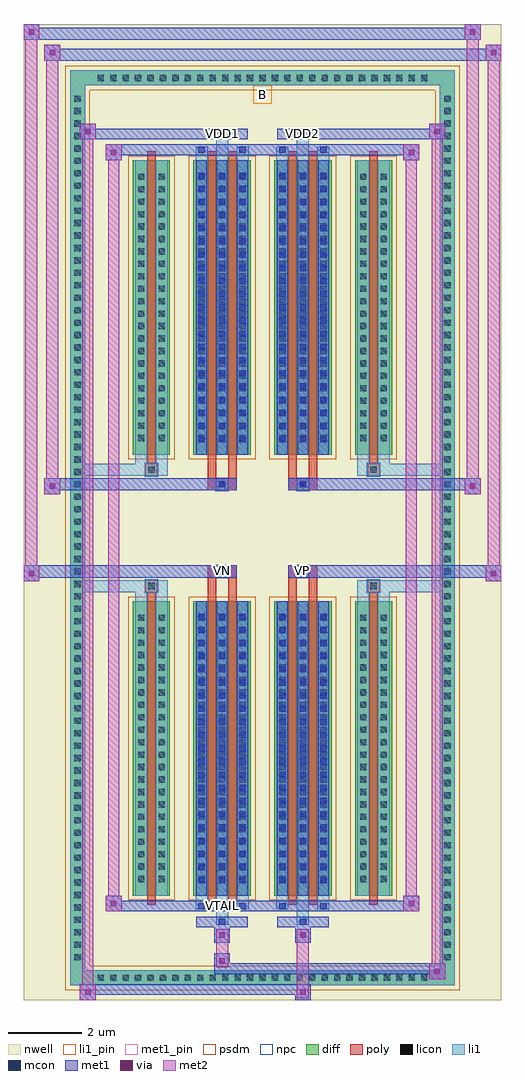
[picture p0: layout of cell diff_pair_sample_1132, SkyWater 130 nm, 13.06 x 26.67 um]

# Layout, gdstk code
import gdstk
lib = gdstk.Library(unit=1e-6, precision=5e-09)
def R(c, l, rs):  # rectangles x0, y0, x1, y1
    for r in rs: c.add(gdstk.rectangle(r[:2], r[2:], *l))
def A(c, l, x, y, w, h, nx, ny, dx, dy):  # array of equal rectangles
    R(c, l, [(x+i*dx, y+j*dy, x+i*dx+w, y+j*dy+h) for i in range(nx) for j in range(ny)])
def P(c, l, *ps):  # polygons
    for p in ps: c.add(gdstk.Polygon(p, *l))
nwell = (64, 20)
diff = (65, 20)
poly = (66, 20)
licon = (66, 44)
li1_pin = (67, 16)
li1 = (67, 20)
mcon = (67, 44)
met1_pin = (68, 16)
met1 = (68, 20)
via = (68, 44)
met2 = (69, 20)
psdm = (94, 20)
npc = (95, 20)

diff_pair_sample_1132 = lib.new_cell('diff_pair_sample_1132')
R(diff_pair_sample_1132, nwell, [(-6.53,-12.9,6.53,13.77), (-3.85,-11.09,-0.01,-0.825), (0.01,-11.09,3.85,-0.825), (-3.85,0.825,-0.01,11.09), (0.01,0.825,3.85,11.09)])
A(diff_pair_sample_1132, diff, -4.625, -12.5, 0.41, 0.41, 27, 2, 0.34, 24.59)
A(diff_pair_sample_1132, diff, -5.26, -11.935, 0.41, 0.41, 1, 70, 0, 0.34)
A(diff_pair_sample_1132, diff, 4.85, -11.935, 0.41, 0.41, 1, 70, 0, 0.34)
R(diff_pair_sample_1132, diff, [(-4.625,-12.5,4.625,-12.09), (-5.26,-11.935,-4.85,11.935), (4.85,-11.935,5.26,11.935), (-3.54,-10.045,-2.53,-2.005), (-1.89,-10.045,-0.32,-2.005), (0.32,-10.045,1.89,-2.005), (2.53,-10.045,3.54,-2.005), (-3.54,2.005,-2.53,10.045), (-1.89,2.005,-0.32,10.045), (0.32,2.005,1.89,10.045), (2.53,2.005,3.54,10.045), (-4.625,12.09,4.625,12.5)])
P(diff_pair_sample_1132, diff, [(5.26,12.5),(-5.26,12.5),(-5.26,-12.09),(-4.85,-12.09),(-4.85,12.09),(4.85,12.09),(4.85,-12.09),(-4.85,-12.09),(-5.26,-12.09),(-5.26,-12.5),(5.26,-12.5)])
R(diff_pair_sample_1132, poly, [(-3.15,-10.295,-2.92,-1.755), (-1.5,-10.295,-1.27,-1.755), (-0.94,-10.295,-0.71,-1.755), (0.71,-10.295,0.94,-1.755), (1.27,-10.295,1.5,-1.755), (2.92,-10.295,3.15,-1.755), (-3.2,-1.755,-2.87,-1.425), (-3.2,-1.755,-2.87,-1.425), (-1.5,-1.755,-1.27,-1.355), (-0.94,-1.755,-0.71,-1.355), (0.71,-1.755,0.94,-1.355), (1.27,-1.755,1.5,-1.355), (2.87,-1.755,3.2,-1.425), (2.87,-1.755,3.2,-1.425), (-1.5,-1.355,-0.71,-1.025), (-1.27,-1.355,-0.94,-1.025), (0.71,-1.355,1.5,-1.025), (0.94,-1.355,1.27,-1.025), (-1.5,1.025,-0.71,1.355), (-1.27,1.025,-0.94,1.355), (0.71,1.025,1.5,1.355), (0.94,1.025,1.27,1.355), (-1.5,1.355,-1.27,1.755), (-0.94,1.355,-0.71,1.755), (0.71,1.355,0.94,1.755), (1.27,1.355,1.5,1.755), (-3.2,1.425,-2.87,1.755), (-3.2,1.425,-2.87,1.755), (2.87,1.425,3.2,1.755), (2.87,1.425,3.2,1.755), (-3.15,1.755,-2.92,10.295), (-1.5,1.755,-1.27,10.295), (-0.94,1.755,-0.71,10.295), (0.71,1.755,0.94,10.295), (1.27,1.755,1.5,10.295), (2.92,1.755,3.15,10.295)])
A(diff_pair_sample_1132, licon, -4.505, -12.38, 0.17, 0.17, 27, 2, 0.34, 24.59)
A(diff_pair_sample_1132, licon, -5.14, -11.815, 0.17, 0.17, 1, 70, 0, 0.34)
A(diff_pair_sample_1132, licon, 4.97, -11.815, 0.17, 0.17, 1, 70, 0, 0.34)
A(diff_pair_sample_1132, licon, -3.4, -9.68, 0.17, 0.17, 1, 22, 0, 0.34)
A(diff_pair_sample_1132, licon, -2.84, -9.68, 0.17, 0.17, 1, 22, 0, 0.34)
A(diff_pair_sample_1132, licon, -1.75, -9.68, 0.17, 0.17, 3, 22, 0.56, 0.34)
A(diff_pair_sample_1132, licon, 0.46, -9.68, 0.17, 0.17, 3, 22, 0.56, 0.34)
A(diff_pair_sample_1132, licon, 2.67, -9.68, 0.17, 0.17, 1, 22, 0, 0.34)
A(diff_pair_sample_1132, licon, 3.23, -9.68, 0.17, 0.17, 1, 22, 0, 0.34)
A(diff_pair_sample_1132, licon, -3.4, 2.37, 0.17, 0.17, 1, 22, 0, 0.34)
A(diff_pair_sample_1132, licon, -2.84, 2.37, 0.17, 0.17, 1, 22, 0, 0.34)
A(diff_pair_sample_1132, licon, -1.75, 2.37, 0.17, 0.17, 3, 22, 0.56, 0.34)
A(diff_pair_sample_1132, licon, 0.46, 2.37, 0.17, 0.17, 3, 22, 0.56, 0.34)
A(diff_pair_sample_1132, licon, 2.67, 2.37, 0.17, 0.17, 1, 22, 0, 0.34)
A(diff_pair_sample_1132, licon, 3.23, 2.37, 0.17, 0.17, 1, 22, 0, 0.34)
R(diff_pair_sample_1132, licon, [(-3.12,-1.675,-2.95,-1.505), (2.95,-1.675,3.12,-1.505), (-1.19,-1.275,-1.02,-1.105), (1.02,-1.275,1.19,-1.105), (-1.19,1.105,-1.02,1.275), (1.02,1.105,1.19,1.275), (-3.12,1.505,-2.95,1.675), (2.95,1.505,3.12,1.675)])
R(diff_pair_sample_1132, li1_pin, [(-0.25,11.59,0.25,12.09)])
A(diff_pair_sample_1132, li1, -4.585, -12.46, 0.33, 0.33, 27, 2, 0.34, 24.59)
A(diff_pair_sample_1132, li1, -5.22, -11.895, 0.33, 0.33, 1, 70, 0, 0.34)
A(diff_pair_sample_1132, li1, 4.89, -11.895, 0.33, 0.33, 1, 70, 0, 0.34)
A(diff_pair_sample_1132, li1, -1.83, -10.045, 0.33, 8.04, 3, 2, 0.56, 12.05)
A(diff_pair_sample_1132, li1, 0.38, -10.045, 0.33, 8.04, 3, 2, 0.56, 12.05)
A(diff_pair_sample_1132, li1, -3.48, -9.76, 0.33, 0.33, 1, 22, 0, 0.34)
A(diff_pair_sample_1132, li1, -2.92, -9.76, 0.33, 0.33, 1, 22, 0, 0.34)
A(diff_pair_sample_1132, li1, -1.83, -9.76, 0.33, 0.33, 3, 22, 0.56, 0.34)
A(diff_pair_sample_1132, li1, 0.38, -9.76, 0.33, 0.33, 3, 22, 0.56, 0.34)
A(diff_pair_sample_1132, li1, 2.59, -9.76, 0.33, 0.33, 1, 22, 0, 0.34)
A(diff_pair_sample_1132, li1, 3.15, -9.76, 0.33, 0.33, 1, 22, 0, 0.34)
A(diff_pair_sample_1132, li1, -1.75, -9.71, 0.17, 0.17, 3, 21, 0.56, 0.36)
A(diff_pair_sample_1132, li1, -1.75, -9.71, 0.17, 7.37, 3, 2, 0.56, 12.05)
A(diff_pair_sample_1132, li1, 0.46, -9.71, 0.17, 0.17, 3, 21, 0.56, 0.36)
A(diff_pair_sample_1132, li1, 0.46, -9.71, 0.17, 7.37, 3, 2, 0.56, 12.05)
A(diff_pair_sample_1132, li1, -3.48, 2.29, 0.33, 0.33, 1, 22, 0, 0.34)
A(diff_pair_sample_1132, li1, -2.92, 2.29, 0.33, 0.33, 1, 22, 0, 0.34)
A(diff_pair_sample_1132, li1, -1.83, 2.29, 0.33, 0.33, 3, 22, 0.56, 0.34)
A(diff_pair_sample_1132, li1, 0.38, 2.29, 0.33, 0.33, 3, 22, 0.56, 0.34)
A(diff_pair_sample_1132, li1, 2.59, 2.29, 0.33, 0.33, 1, 22, 0, 0.34)
A(diff_pair_sample_1132, li1, 3.15, 2.29, 0.33, 0.33, 1, 22, 0, 0.34)
A(diff_pair_sample_1132, li1, -1.75, 2.34, 0.17, 0.17, 3, 21, 0.56, 0.36)
A(diff_pair_sample_1132, li1, 0.46, 2.34, 0.17, 0.17, 3, 21, 0.56, 0.36)
R(diff_pair_sample_1132, li1, [(-5.26,-12.5,-4.85,-12.09), (-5.26,-12.5,-4.85,-12.09), (-4.85,-12.5,4.85,-12.09), (4.85,-12.5,5.26,-12.09), (4.85,-12.5,5.26,-12.09), (-5.26,-12.09,-4.85,12.09), (4.85,-12.09,5.26,12.09), (-1.27,-10.85,-0.94,-10.045), (-1.19,-10.85,-1.02,-10.68), (0.94,-10.85,1.27,-10.045), (1.02,-10.85,1.19,-10.68), (-1.83,-10.42,-1.5,-10.045), (-1.75,-10.42,-1.58,-10.25), (-0.71,-10.42,-0.38,-10.045), (-0.63,-10.42,-0.46,-10.25), (0.38,-10.42,0.71,-10.045), (0.46,-10.42,0.63,-10.25), (1.5,-10.42,1.83,-10.045), (1.58,-10.42,1.75,-10.25), (-3.48,-10.045,-3.15,-2.005), (-2.92,-10.045,-2.59,-2.005), (2.59,-10.045,2.92,-2.005), (3.15,-10.045,3.48,-2.005), (-3.48,-2.005,-3.15,-1.425), (-2.92,-2.005,-2.59,-1.425), (2.59,-2.005,2.92,-1.425), (3.15,-2.005,3.48,-1.425), (-5.26,-1.755,-3.2,-1.425), (-3.48,-1.755,-3.2,-1.425), (-3.2,-1.755,-2.87,-1.425), (-2.87,-1.755,-2.59,-1.425), (2.59,-1.755,2.87,-1.425), (2.87,-1.755,3.2,-1.425), (2.87,-1.755,5.26,-1.425), (3.2,-1.755,3.48,-1.425), (-1.27,-1.355,-0.94,-1.025), (0.94,-1.355,1.27,-1.025), (-1.27,1.025,-0.94,1.355), (0.94,1.025,1.27,1.355), (-5.26,1.425,-3.2,1.755), (-3.48,1.425,-3.2,1.755), (-3.48,1.425,-3.15,2.005), (-3.2,1.425,-2.87,1.755), (-2.92,1.425,-2.59,2.005), (-2.87,1.425,-2.59,1.755), (2.59,1.425,2.87,1.755), (2.59,1.425,2.92,2.005), (2.87,1.425,3.2,1.755), (2.87,1.425,5.26,1.755), (3.15,1.425,3.48,2.005), (3.2,1.425,3.48,1.755), (-3.48,2.005,-3.15,10.045), (-2.92,2.005,-2.59,10.045), (2.59,2.005,2.92,10.045), (3.15,2.005,3.48,10.045), (-1.83,10.045,-1.5,10.42), (-1.27,10.045,-0.94,10.85), (-0.71,10.045,-0.38,10.42), (0.38,10.045,0.71,10.42), (0.94,10.045,1.27,10.85), (1.5,10.045,1.83,10.42), (-1.75,10.25,-1.58,10.42), (-0.63,10.25,-0.46,10.42), (0.46,10.25,0.63,10.42), (1.58,10.25,1.75,10.42), (-1.19,10.68,-1.02,10.85), (1.02,10.68,1.19,10.85), (-5.26,12.09,-4.85,12.5), (-5.26,12.09,-4.85,12.5), (-4.85,12.09,4.85,12.5), (4.85,12.09,5.26,12.5), (4.85,12.09,5.26,12.5)])
A(diff_pair_sample_1132, mcon, -1.75, -9.71, 0.17, 0.17, 3, 21, 0.56, 0.36)
A(diff_pair_sample_1132, mcon, 0.46, -9.71, 0.17, 0.17, 3, 21, 0.56, 0.36)
A(diff_pair_sample_1132, mcon, -1.75, 2.34, 0.17, 0.17, 3, 21, 0.56, 0.36)
A(diff_pair_sample_1132, mcon, 0.46, 2.34, 0.17, 0.17, 3, 21, 0.56, 0.36)
R(diff_pair_sample_1132, mcon, [(-1.19,-10.85,-1.02,-10.68), (1.02,-10.85,1.19,-10.68), (-1.75,-10.42,-1.58,-10.25), (-0.63,-10.42,-0.46,-10.25), (0.46,-10.42,0.63,-10.25), (1.58,-10.42,1.75,-10.25), (-1.19,-1.275,-1.02,-1.105), (1.02,-1.275,1.19,-1.105), (-1.19,1.105,-1.02,1.275), (1.02,1.105,1.19,1.275), (-1.75,10.25,-1.58,10.42), (-0.63,10.25,-0.46,10.42), (0.46,10.25,0.63,10.42), (1.58,10.25,1.75,10.42), (-1.19,10.68,-1.02,10.85), (1.02,10.68,1.19,10.85)])
R(diff_pair_sample_1132, met1_pin, [(-1.24,-10.46,-0.97,-10.19), (-1.24,-1.295,-0.97,-1.025), (0.97,-1.295,1.24,-1.025), (-1.24,10.64,-0.97,10.91), (0.97,10.64,1.24,10.91)])
A(diff_pair_sample_1132, met1, -1.81, -10.045, 0.29, 8.04, 3, 2, 0.56, 12.05)
A(diff_pair_sample_1132, met1, 0.4, -10.045, 0.29, 8.04, 3, 2, 0.56, 12.05)
A(diff_pair_sample_1132, met1, -1.81, -9.77, 0.29, 0.29, 3, 21, 0.56, 0.36)
A(diff_pair_sample_1132, met1, 0.4, -9.77, 0.29, 0.29, 3, 21, 0.56, 0.36)
A(diff_pair_sample_1132, met1, -1.81, 2.28, 0.29, 0.29, 3, 21, 0.56, 0.36)
A(diff_pair_sample_1132, met1, 0.4, 2.28, 0.29, 0.29, 3, 21, 0.56, 0.36)
R(diff_pair_sample_1132, met1, [(-4.99,-12.9,-4.56,-12.47), (0.89,-12.9,1.32,-12.47), (-4.99,-12.76,1.32,-12.47), (4.56,-12.33,4.99,-11.9), (-1.32,-12.19,4.99,-11.9), (-1.32,-12.05,-0.89,-11.62), (-1.32,-11.34,-0.89,-10.91), (0.89,-11.34,1.32,-10.91), (-1.81,-10.91,-0.4,-10.62), (-1.25,-10.91,-0.96,-10.62), (0.4,-10.91,1.81,-10.62), (0.96,-10.91,1.25,-10.62), (-4.28,-10.48,-3.85,-10.05), (-4.28,-10.48,-1.81,-10.19), (-1.81,-10.48,-1.52,-10.19), (-1.81,-10.48,-0.4,-10.19), (-0.69,-10.48,-0.4,-10.19), (-0.4,-10.48,0.4,-10.19), (0.4,-10.48,0.69,-10.19), (0.4,-10.48,1.81,-10.19), (1.52,-10.48,1.81,-10.19), (1.81,-10.48,4.28,-10.19), (3.85,-10.48,4.28,-10.05), (-6.53,-1.455,-6.1,-1.025), (6.1,-1.455,6.53,-1.025), (-6.53,-1.355,-0.71,-1.025), (-1.5,-1.355,-0.71,-1.025), (0.71,-1.355,1.5,-1.025), (0.71,-1.355,6.53,-1.025), (-1.25,-1.335,-0.96,-1.045), (0.96,-1.335,1.25,-1.045), (-5.96,0.925,-5.53,1.355), (5.53,0.925,5.96,1.355), (-5.96,1.025,-1.5,1.355), (-1.5,1.025,-0.71,1.355), (0.71,1.025,1.5,1.355), (1.5,1.025,5.96,1.355), (-1.25,1.045,-0.96,1.335), (0.96,1.045,1.25,1.335), (-4.28,10.05,-3.85,10.48), (3.85,10.05,4.28,10.48), (-4.28,10.19,-1.81,10.48), (-1.81,10.19,-1.52,10.48), (-1.81,10.19,-0.4,10.48), (-0.69,10.19,-0.4,10.48), (-0.4,10.19,0.4,10.48), (0.4,10.19,0.69,10.48), (0.4,10.19,1.81,10.48), (1.52,10.19,1.81,10.48), (1.81,10.19,4.28,10.48), (-4.99,10.62,-4.56,11.05), (-4.99,10.62,-1.81,10.91), (-1.81,10.62,-0.4,10.91), (-1.25,10.62,-0.96,10.91), (0.4,10.62,1.81,10.91), (0.96,10.62,1.25,10.91), (1.81,10.62,4.99,10.91), (4.56,10.62,4.99,11.05), (-5.96,12.77,-5.53,13.2), (-5.96,12.77,-3.85,13.1), (-3.85,12.77,3.85,13.1), (3.85,12.77,6.53,13.1), (6.1,12.77,6.53,13.2), (-6.53,13.34,-6.1,13.77), (-6.53,13.34,-3.85,13.67), (-3.85,13.34,3.85,13.67), (3.85,13.34,5.96,13.67), (5.53,13.34,5.96,13.77)])
R(diff_pair_sample_1132, via, [(-4.85,-12.76,-4.7,-12.61), (1.03,-12.76,1.18,-12.61), (4.7,-12.19,4.85,-12.04), (-1.18,-11.91,-1.03,-11.76), (-1.18,-11.2,-1.03,-11.05), (1.03,-11.2,1.18,-11.05), (-4.14,-10.34,-3.99,-10.19), (3.99,-10.34,4.14,-10.19), (-6.39,-1.315,-6.24,-1.165), (6.24,-1.315,6.39,-1.165), (-5.82,1.065,-5.67,1.215), (5.67,1.065,5.82,1.215), (-4.14,10.19,-3.99,10.34), (3.99,10.19,4.14,10.34), (-4.85,10.76,-4.7,10.91), (4.7,10.76,4.85,10.91), (-5.82,12.91,-5.67,13.06), (6.24,12.91,6.39,13.06), (-6.39,13.48,-6.24,13.63), (5.67,13.48,5.82,13.63)])
R(diff_pair_sample_1132, met2, [(-4.99,-12.9,-4.56,-12.47), (-4.92,-12.9,-4.63,11.05), (-4.63,-12.9,-4.56,-12.47), (-4.94,-12.85,-4.61,-12.52), (0.94,-12.85,1.27,-12.52), (0.94,-12.52,1.27,-11.29), (4.56,-12.33,4.99,-11.9), (4.63,-12.33,4.92,11.05), (4.92,-12.33,4.99,-11.9), (4.61,-12.28,4.94,-11.95), (-1.27,-12,-0.94,-11.67), (-1.27,-11.67,-0.94,-11.29), (-1.27,-11.29,-0.94,-10.96), (0.94,-11.29,1.27,-10.96), (-4.28,-10.48,-3.85,-10.05), (-4.21,-10.48,-3.92,10.48), (-3.92,-10.48,-3.85,-10.05), (3.85,-10.48,4.28,-10.05), (3.92,-10.48,4.21,10.48), (4.21,-10.48,4.28,-10.05), (-4.23,-10.43,-3.9,-10.1), (3.9,-10.43,4.23,-10.1), (-6.53,-1.455,-6.1,-1.025), (-6.48,-1.455,-6.15,13.77), (-6.15,-1.455,-6.1,-1.025), (6.1,-1.455,6.53,-1.025), (6.15,-1.455,6.48,13.2), (6.48,-1.455,6.53,-1.025), (-6.48,-1.405,-6.15,-1.075), (6.15,-1.405,6.48,-1.075), (-5.96,0.925,-5.53,1.355), (-5.91,0.925,-5.58,13.2), (-5.58,0.925,-5.53,1.355), (5.53,0.925,5.96,1.355), (5.58,0.925,5.91,13.77), (5.91,0.925,5.96,1.355), (-5.91,0.975,-5.58,1.305), (5.58,0.975,5.91,1.305), (-4.28,10.05,-3.85,10.48), (-3.92,10.05,-3.85,10.48), (3.85,10.05,4.28,10.48), (4.21,10.05,4.28,10.48), (-4.23,10.1,-3.9,10.43), (3.9,10.1,4.23,10.43), (-4.99,10.62,-4.56,11.05), (-4.63,10.62,-4.56,11.05), (4.56,10.62,4.99,11.05), (4.92,10.62,4.99,11.05), (-4.94,10.67,-4.61,11), (4.61,10.67,4.94,11), (-5.96,12.77,-5.53,13.2), (-5.58,12.77,-5.53,13.2), (6.1,12.77,6.53,13.2), (6.48,12.77,6.53,13.2), (-5.91,12.82,-5.58,13.15), (6.15,12.82,6.48,13.15), (-6.53,13.34,-6.1,13.77), (-6.15,13.34,-6.1,13.77), (5.53,13.34,5.96,13.77), (5.91,13.34,5.96,13.77), (-6.48,13.39,-6.15,13.72), (5.58,13.39,5.91,13.72)])
R(diff_pair_sample_1132, psdm, [(-3.67,-10.175,-2.4,-1.875), (-2.02,-10.175,-0.19,-1.875), (0.19,-10.175,2.02,-1.875), (2.4,-10.175,3.67,-1.875), (-3.67,1.875,-2.4,10.175), (-2.02,1.875,-0.19,10.175), (0.19,1.875,2.02,10.175), (2.4,1.875,3.67,10.175)])
P(diff_pair_sample_1132, psdm, [(5.39,12.63),(-5.39,12.63),(-5.39,-11.96),(-4.72,-11.96),(-4.72,11.96),(4.72,11.96),(4.72,-11.96),(-4.72,-11.96),(-5.39,-11.96),(-5.39,-12.63),(5.39,-12.63)])
R(diff_pair_sample_1132, npc, [(-3.22,-1.775,-2.85,-1.405), (2.85,-1.775,3.22,-1.405), (-1.29,-1.375,-0.92,-1.005), (0.92,-1.375,1.29,-1.005), (-1.29,1.005,-0.92,1.375), (0.92,1.005,1.29,1.375), (-3.22,1.405,-2.85,1.775), (2.85,1.405,3.22,1.775)])
diff_pair_sample_1132.add(gdstk.Label('VTAIL', (-1.105,-10.325), layer=68, texttype=5))
diff_pair_sample_1132.add(gdstk.Label('VN', (-1.105,-1.16), layer=68, texttype=5))
diff_pair_sample_1132.add(gdstk.Label('VP', (1.105,-1.16), layer=68, texttype=5))
diff_pair_sample_1132.add(gdstk.Label('B', (0,11.84), layer=67, texttype=5))
diff_pair_sample_1132.add(gdstk.Label('VDD2', (1.105,10.775), layer=68, texttype=5))
diff_pair_sample_1132.add(gdstk.Label('VDD1', (-1.105,10.775), layer=68, texttype=5))

lib.write_gds('diff_pair_sample_1132.gds')
